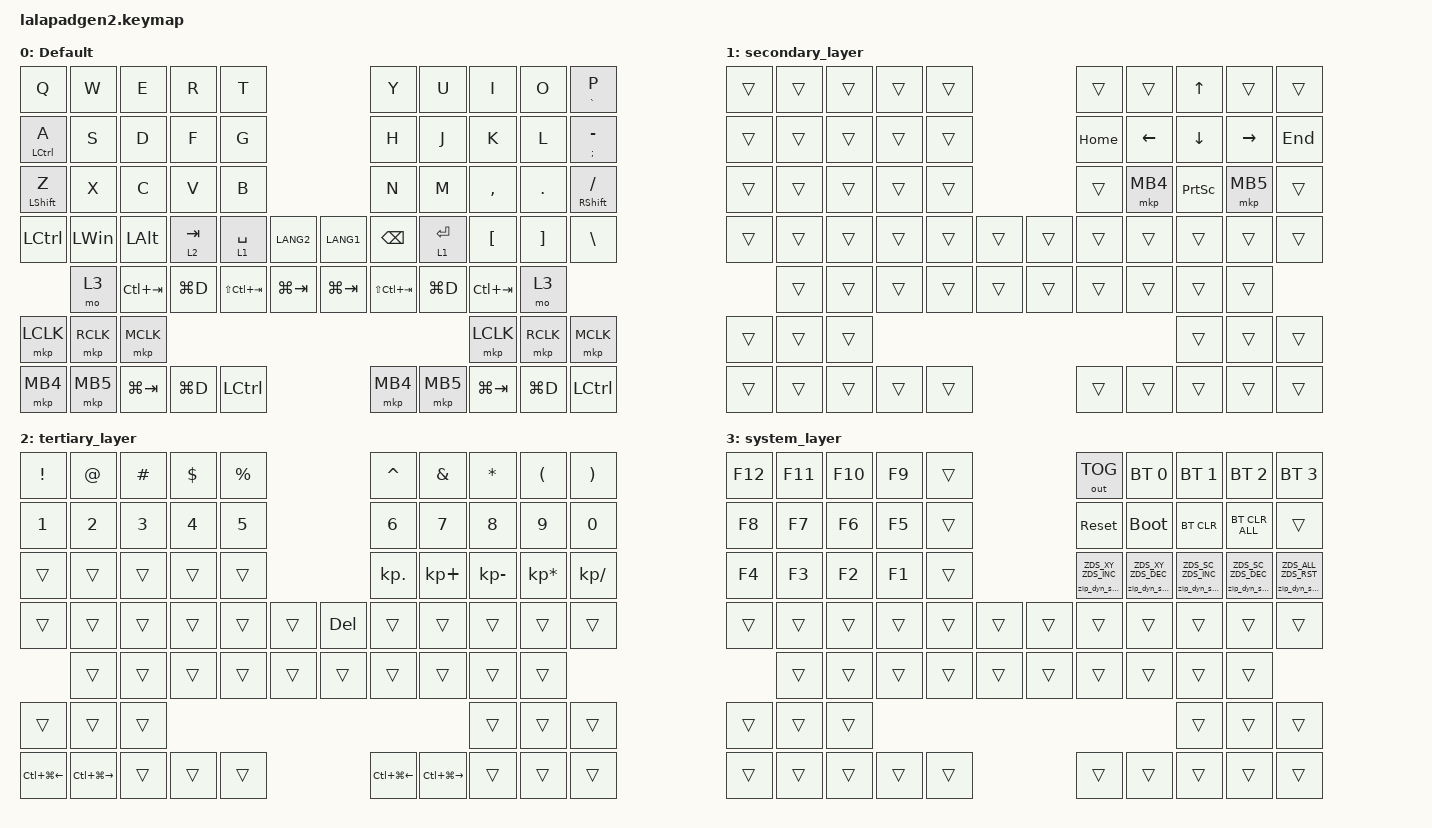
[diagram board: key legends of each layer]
#include <input/processors.dtsi>
#include <dt-bindings/zmk/zip_dynamic_scale.h>
#include <behaviors.dtsi>
#include <dt-bindings/zmk/bt.h>
#include <dt-bindings/zmk/keys.h>
#include <dt-bindings/zmk/outputs.h>
#include <dt-bindings/zmk/pointing.h>

#define DEFAULT_LAYER   0
#define SECONDARY_LAYER 1
#define TERTIARY_LAYER  2
#define SYSTEM_LAYER    3

&mt { quick-tap-ms = <200>; };

&lt { quick-tap-ms = <200>; };

/ {
    behaviors {
        zip_dyn_scale: zip_dyn_scale {
            compatible = "zmk,behavior-zip-dynamic-scale";
            #binding-cells = <2>;
        };

        zip_dyn_scale_set: zip_dyn_scale_set {
            compatible = "zmk,behavior-zip-dynamic-scale-set";
            #binding-cells = <2>;
        };

        mt2: mod_tap2 {
            compatible = "zmk,behavior-hold-tap";
            #binding-cells = <2>;
            flavor = "tap-preferred";
            tapping-term-ms = <200>;
            quick-tap-ms = <200>;
            require-prior-idle-ms = <125>;
            bindings = <&kp>, <&kp>;
        };

        tap_dance_layer_1and2: tap_dance_layer_1and2 {
            compatible = "zmk,behavior-tap-dance";
            label = "td_mo12";
            #binding-cells = <0>;
            bindings = <&mo 2>, <&mo 1>;
        };
    };

    combos {
        compatible = "zmk,combos";

        CONBO_ESC {
            bindings = <&kp ESCAPE>;
            key-positions = <0 1>;
        };

        Combo_Quote {
            bindings = <&kp SINGLE_QUOTE>;
            key-positions = <18 19>;
        };
    };

    keymap {
        compatible = "zmk,keymap";

        DEFAULT_LAYER {
            display-name = "Default";
            bindings = <
&kp Q              &kp W      &kp E         &kp R      &kp T                                      &kp Y            &kp U        &kp I             &kp O              &mt2 GRAVE P
&mt2 LCTRL A       &kp S      &kp D         &kp F      &kp G                                      &kp H            &kp J        &kp K             &kp L              &mt2 SEMICOLON MINUS
&mt2 LEFT_SHIFT Z  &kp X      &kp C         &kp V      &kp B                                      &kp N            &kp M        &kp COMMA         &kp PERIOD         &mt2 RIGHT_SHIFT SLASH
&kp LCTRL          &kp LWIN   &kp LEFT_ALT  &lt 2 TAB  &lt 1 SPACE      &kp LANG2    &kp LANG1    &kp BACKSPACE    &lt 1 ENTER  &kp LEFT_BRACKET  &kp RIGHT_BRACKET  &kp BACKSLASH
                   &mo 3      &kp LC(TAB)   &kp LG(D)  &kp LS(LC(TAB))  &kp LG(TAB)  &kp LG(TAB)  &kp LS(LC(TAB))  &kp LG(D)    &kp LC(TAB)       &mo 3
&mkp LCLK          &mkp RCLK  &mkp MCLK                                                                                         &mkp LCLK         &mkp RCLK          &mkp MCLK
&mkp MB4           &mkp MB5   &kp LG(TAB)   &kp LG(D)  &kp LCTRL                                  &mkp MB4         &mkp MB5     &kp LG(TAB)       &kp LG(D)          &kp LCTRL
            >;
        };

        SECONDARY_LAYER {
            display-name = "secondary_layer";
            bindings = <
&trans  &trans  &trans  &trans  &trans                  &trans    &trans    &kp UP_ARROW     &trans     &trans
&trans  &trans  &trans  &trans  &trans                  &kp HOME  &kp LEFT  &kp DOWN_ARROW   &kp RIGHT  &kp END
&trans  &trans  &trans  &trans  &trans                  &trans    &mkp MB4  &kp PRINTSCREEN  &mkp MB5   &trans
&trans  &trans  &trans  &trans  &trans  &trans  &trans  &trans    &trans    &trans           &trans     &trans
        &trans  &trans  &trans  &trans  &trans  &trans  &trans    &trans    &trans           &trans
&trans  &trans  &trans                                                      &trans           &trans     &trans
&trans  &trans  &trans  &trans  &trans                  &trans    &trans    &trans           &trans     &trans
            >;
        };

        TERTIARY_LAYER {
            display-name = "tertiary_layer";
            bindings = <
&kp EXCLAMATION   &kp AT_SIGN        &kp HASH  &kp DOLLAR  &kp PERCENT                   &kp CARET         &kp AMPERSAND      &kp ASTERISK  &kp LEFT_PARENTHESIS  &kp RIGHT_PARENTHESIS
&kp N1            &kp N2             &kp N3    &kp N4      &kp N5                        &kp N6            &kp N7             &kp N8        &kp N9                &kp N0
&trans            &trans             &trans    &trans      &trans                        &kp KP_DOT        &kp KP_PLUS        &kp KP_MINUS  &kp KP_MULTIPLY       &kp KP_DIVIDE
&trans            &trans             &trans    &trans      &trans       &trans  &kp DEL  &trans            &trans             &trans        &trans                &trans
                  &trans             &trans    &trans      &trans       &trans  &trans   &trans            &trans             &trans        &trans
&trans            &trans             &trans                                                                                   &trans        &trans                &trans
&kp LC(LG(LEFT))  &kp LC(LG(RIGHT))  &trans    &trans      &trans                        &kp LC(LG(LEFT))  &kp LC(LG(RIGHT))  &trans        &trans                &trans
            >;
        };

        SYSTEM_LAYER {
            display-name = "system_layer";
            bindings = <
&kp F12  &kp F11  &kp F10  &kp F9  &trans                  &out OUT_TOG                   &bt BT_SEL 0                   &bt BT_SEL 1                   &bt BT_SEL 2                   &bt BT_SEL 3
&kp F8   &kp F7   &kp F6   &kp F5  &trans                  &sys_reset                     &bootloader                    &bt BT_CLR                     &bt BT_CLR_ALL                 &trans
&kp F4   &kp F3   &kp F2   &kp F1  &trans                  &zip_dyn_scale ZDS_XY ZDS_INC  &zip_dyn_scale ZDS_XY ZDS_DEC  &zip_dyn_scale ZDS_SC ZDS_INC  &zip_dyn_scale ZDS_SC ZDS_DEC  &zip_dyn_scale ZDS_ALL ZDS_RST
&trans   &trans   &trans   &trans  &trans  &trans  &trans  &trans                         &trans                         &trans                         &trans                         &trans
         &trans   &trans   &trans  &trans  &trans  &trans  &trans                         &trans                         &trans                         &trans
&trans   &trans   &trans                                                                                                 &trans                         &trans                         &trans
&trans   &trans   &trans   &trans  &trans                  &trans                         &trans                         &trans                         &trans                         &trans
            >;
        };
    };

    /*conditional_layers {
        compatible = "zmk,conditional-layers";

        Cond_Syslayer {
            if-layers = <2 1>;
            then-layer = <3>;
        };
    };*/
};
